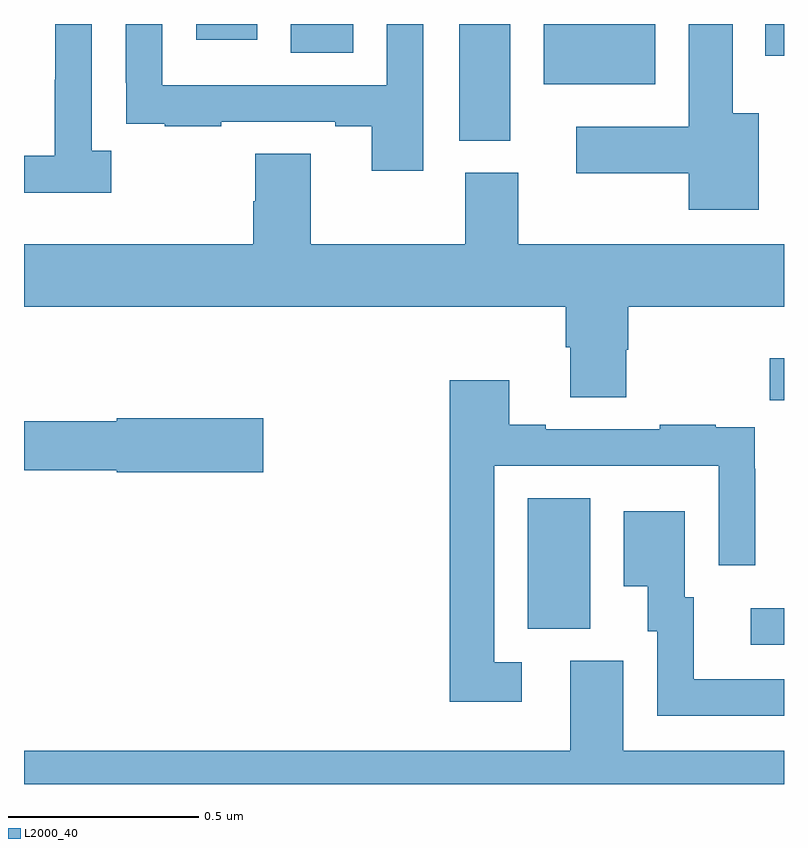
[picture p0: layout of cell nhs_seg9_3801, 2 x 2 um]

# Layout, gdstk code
import gdstk
lib = gdstk.Library(unit=1e-6, precision=1e-09)
def R(c, l, rs):  # rectangles x0, y0, x1, y1
    for r in rs: c.add(gdstk.rectangle(r[:2], r[2:], *l))
def P(c, l, *ps):  # polygons
    for p in ps: c.add(gdstk.Polygon(p, *l))
L2000_40 = (2000, 40)

nhs_seg9_3801 = lib.new_cell('nhs_seg9_3801')
R(nhs_seg9_3801, L2000_40, [(159.912,1192.866,160,1192.962), (159.326,1192.909,159.49,1193.252), (159.963,1193.51,160,1193.62), (159.146,1194.193,159.28,1194.5), (159.368,1194.341,159.661,1194.5), (159.95,1194.416,160,1194.5), (158.702,1194.424,158.866,1194.5), (158.453,1194.459,158.614,1194.5)])
P(nhs_seg9_3801, L2000_40, [(158.23,1194.166),(158.178,1194.166),(158.178,1194.5),(158.082,1194.5),(158.082,1194.353),(158.081,1194.353),(158.081,1194.153),(158,1194.153),(158,1194.056),(158.23,1194.056)],
  [(159.934,1194.265),(159.865,1194.265),(159.865,1194.5),(159.749,1194.5),(159.749,1194.229),(159.453,1194.229),(159.453,1194.107),(159.749,1194.107),(159.749,1194.011),(159.934,1194.011)],
  [(159.051,1194.5),(158.955,1194.5),(158.955,1194.339),(158.364,1194.339),(158.364,1194.5),(158.268,1194.5),(158.268,1194.346),(158.269,1194.346),(158.269,1194.237),(158.371,1194.237),(158.371,1194.231),(158.519,1194.231),(158.519,1194.243),(158.819,1194.243),(158.819,1194.231),(158.915,1194.231),(158.915,1194.114),(159.051,1194.114)],
  [(159.161,1194.108),(159.161,1193.92),(158.755,1193.92),(158.755,1194.158),(158.608,1194.158),(158.608,1194.033),(158.603,1194.033),(158.603,1193.92),(158,1193.92),(158,1193.756),(159.425,1193.756),(159.425,1193.65),(159.437,1193.65),(159.437,1193.518),(159.585,1193.518),(159.585,1193.643),(159.59,1193.643),(159.59,1193.756),(160,1193.756),(160,1193.92),(159.301,1193.92),(159.301,1194.108)],
  [(159.31,1192.821),(159.237,1192.821),(159.237,1193.337),(159.828,1193.337),(159.828,1193.076),(159.924,1193.076),(159.924,1193.33),(159.923,1193.33),(159.923,1193.439),(159.821,1193.439),(159.821,1193.446),(159.673,1193.446),(159.673,1193.433),(159.373,1193.433),(159.373,1193.446),(159.277,1193.446),(159.277,1193.563),(159.121,1193.563),(159.121,1192.716),(159.31,1192.716)],
  [(158.629,1193.463),(158.244,1193.463),(158.244,1193.455),(158,1193.455),(158,1193.326),(158.244,1193.326),(158.244,1193.321),(158.629,1193.321)],
  [(160,1192.776),(159.763,1192.776),(159.763,1192.992),(159.739,1192.992),(159.739,1193.218),(159.578,1193.218),(159.578,1193.021),(159.641,1193.021),(159.641,1192.902),(159.666,1192.902),(159.666,1192.68),(160,1192.68)],
  [(160,1192.588),(159.577,1192.588),(159.577,1192.824),(159.437,1192.824),(159.437,1192.588),(158,1192.588),(158,1192.5),(160,1192.5)])

lib.write_gds('nhs_seg9_3801.gds')
